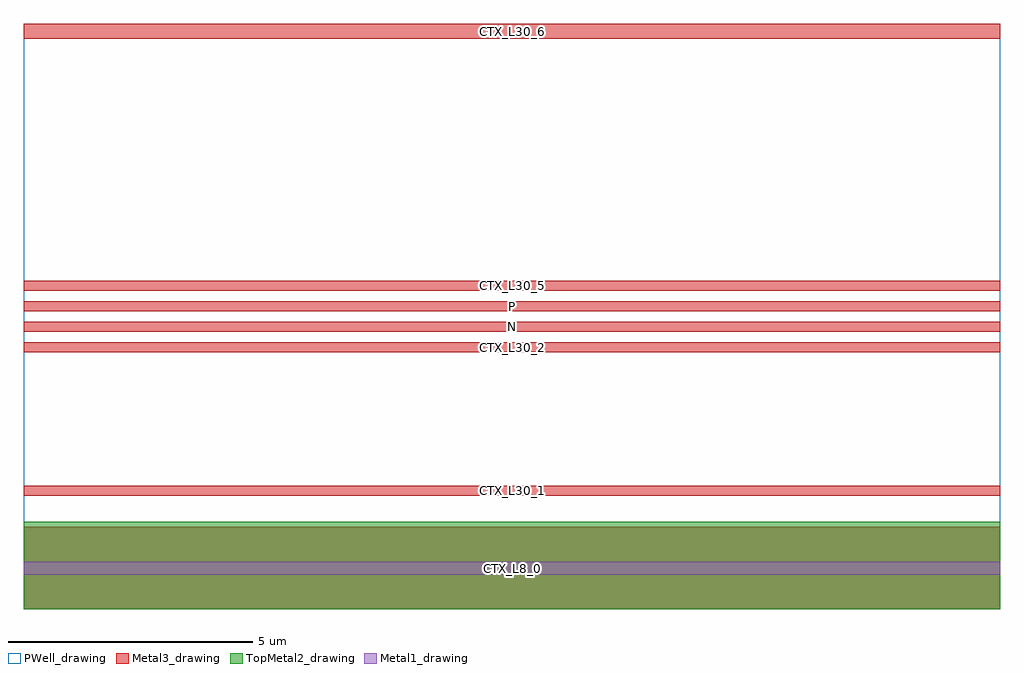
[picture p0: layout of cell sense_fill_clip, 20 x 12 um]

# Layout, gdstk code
import gdstk
lib = gdstk.Library(unit=1e-6, precision=1e-09)
def R(c, l, rs):  # rectangles x0, y0, x1, y1
    for r in rs: c.add(gdstk.rectangle(r[:2], r[2:], *l))
def A(c, l, x, y, w, h, nx, ny, dx, dy):  # array of equal rectangles
    R(c, l, [(x+i*dx, y+j*dy, x+i*dx+w, y+j*dy+h) for i in range(nx) for j in range(ny)])
Metal1_drawing = (8, 0)
Metal3_drawing = (30, 0)
PWell_drawing = (46, 0)
TopMetal2_drawing = (134, 0)

sense_fill_clip = lib.new_cell('sense_fill_clip')
R(sense_fill_clip, Metal1_drawing, [(844.16,942.02,864.16,942.28)])
A(sense_fill_clip, Metal3_drawing, 844.16, 946.58, 20, 0.2, 1, 4, 0, 0.42)
R(sense_fill_clip, Metal3_drawing, [(844.16,941.31,864.16,943), (844.16,943.64,864.16,943.84), (844.16,953,864.16,953.31)])
R(sense_fill_clip, PWell_drawing, [(844.16,941.31,864.16,953.31), (844.16,941.31,864.16,953.31)])
R(sense_fill_clip, TopMetal2_drawing, [(844.16,941.31,864.16,943.1)])
sense_fill_clip.add(gdstk.Label('CTX_L8_0', (854.16,942.15), layer=8, texttype=25))
sense_fill_clip.add(gdstk.Label('CTX_L30_6', (854.16,953.155), layer=30, texttype=25))
sense_fill_clip.add(gdstk.Label('CTX_L30_5', (854.16,947.94), layer=30, texttype=25))
sense_fill_clip.add(gdstk.Label('P', (854.16,947.52), layer=30, texttype=25))
sense_fill_clip.add(gdstk.Label('N', (854.16,947.1), layer=30, texttype=25))
sense_fill_clip.add(gdstk.Label('CTX_L30_2', (854.16,946.68), layer=30, texttype=25))
sense_fill_clip.add(gdstk.Label('CTX_L30_1', (854.16,943.74), layer=30, texttype=25))
sense_fill_clip.add(gdstk.Label('CTX_L30_0', (854.16,942.155), layer=30, texttype=25))
sense_fill_clip.add(gdstk.Label('CTX_L134_0', (854.16,942.205), layer=134, texttype=25))

lib.write_gds('sense_fill_clip.gds')
